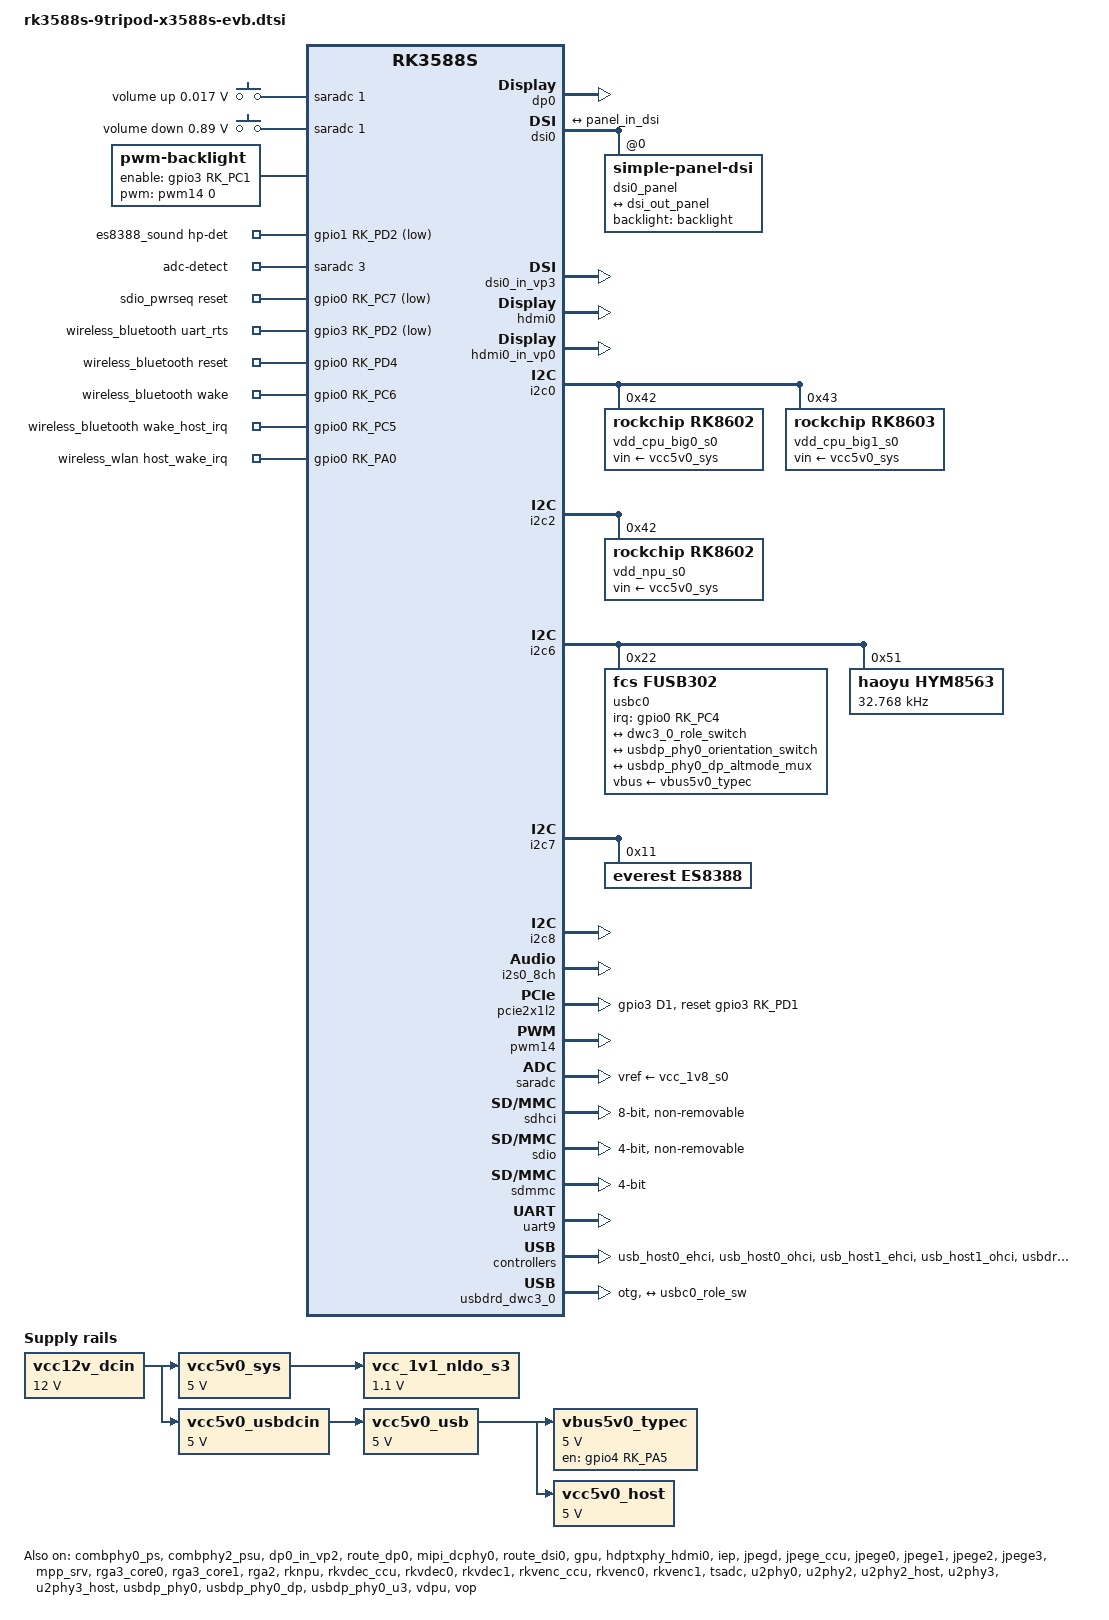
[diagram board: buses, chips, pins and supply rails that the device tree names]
// SPDX-License-Identifier: (GPL-2.0+ OR MIT)
/*
 * Copyright (c) 2021 Rockchip Electronics Co., Ltd.
 *
 */

#include <dt-bindings/gpio/gpio.h>
#include <dt-bindings/pwm/pwm.h>
#include <dt-bindings/pinctrl/rockchip.h>
#include <dt-bindings/input/rk-input.h>
#include <dt-bindings/display/drm_mipi_dsi.h>
#include <dt-bindings/display/rockchip_vop.h>
#include <dt-bindings/sensor-dev.h>
#include "dt-bindings/usb/pd.h"
#include "rk3588s.dtsi"
#include "rk3588s-9tripod-x3588s-rk806-single.dtsi"

/ {
	adc_keys: adc-keys {
		compatible = "adc-keys";
		io-channels = <&saradc 1>;
		io-channel-names = "buttons";
		keyup-threshold-microvolt = <1800000>;
		poll-interval = <100>;

		vol-up-key {
			label = "volume up";
			linux,code = <KEY_VOLUMEUP>;
			press-threshold-microvolt = <17000>;
		};

		vol-down-key {
			label = "volume down";
			linux,code = <KEY_VOLUMEDOWN>;
			press-threshold-microvolt = <890000>;
		};

	};

	backlight: backlight {
		compatible = "pwm-backlight";
		brightness-levels = <
			  0  20  20  21  21  22  22  23
			 23  24  24  25  25  26  26  27
			 27  28  28  29  29  30  30  31
			 31  32  32  33  33  34  34  35
			 35  36  36  37  37  38  38  39
			 40  41  42  43  44  45  46  47
			 48  49  50  51  52  53  54  55
			 56  57  58  59  60  61  62  63
			 64  65  66  67  68  69  70  71
			 72  73  74  75  76  77  78  79
			 80  81  82  83  84  85  86  87
			 88  89  90  91  92  93  94  95
			 96  97  98  99 100 101 102 103
			104 105 106 107 108 109 110 111
			112 113 114 115 116 117 118 119
			120 121 122 123 124 125 126 127
			128 129 130 131 132 133 134 135
			136 137 138 139 140 141 142 143
			144 145 146 147 148 149 150 151
			152 153 154 155 156 157 158 159
			160 161 162 163 164 165 166 167
			168 169 170 171 172 173 174 175
			176 177 178 179 180 181 182 183
			184 185 186 187 188 189 190 191
			192 193 194 195 196 197 198 199
			200 201 202 203 204 205 206 207
			208 209 210 211 212 213 214 215
			216 217 218 219 220 221 222 223
			224 225 226 227 228 229 230 231
			232 233 234 235 236 237 238 239
			240 241 242 243 244 245 246 247
			248 249 250 251 252 253 254 255
		>;
		default-brightness-level = <200>;
	};

	es8388_sound: es8388-sound {
		status = "okay";
		compatible = "rockchip,multicodecs-card";
		rockchip,card-name = "rockchip-es8388";
		hp-det-gpio = <&gpio1 RK_PD2 GPIO_ACTIVE_LOW>;
		io-channels = <&saradc 3>;
		io-channel-names = "adc-detect";
		keyup-threshold-microvolt = <1800000>;
		poll-interval = <100>;
		//spk-con-gpio = <&gpio4 RK_PA5 GPIO_ACTIVE_HIGH>;
		//hp-con-gpio = <&gpio4 RK_PA4 GPIO_ACTIVE_HIGH>;
		rockchip,format = "i2s";
		rockchip,mclk-fs = <256>;
		rockchip,cpu = <&i2s0_8ch>;
		rockchip,codec = <&es8388>;
		rockchip,audio-routing =
			"Headphone", "LOUT1",
			"Headphone", "ROUT1",
			"Speaker", "LOUT2",
			"Speaker", "ROUT2",
			"Headphone", "Headphone Power",
			"Headphone", "Headphone Power",
			"Speaker", "Speaker Power",
			"Speaker", "Speaker Power",
			"LINPUT1", "Main Mic",
			"LINPUT2", "Main Mic",
			"RINPUT1", "Headset Mic",
			"RINPUT2", "Headset Mic";
		pinctrl-names = "default";
		pinctrl-0 = <&hp_det>;
		play-pause-key {
			label = "playpause";
			linux,code = <KEY_PLAYPAUSE>;
			press-threshold-microvolt = <2000>;
		};
	};

	hdmi0_sound: hdmi0-sound {
		status = "disabled";
		compatible = "simple-audio-card";
		simple-audio-card,format = "i2s";
		simple-audio-card,mclk-fs = <128>;
		simple-audio-card,name = "rockchip,hdmi0";

		simple-audio-card,cpu {
			sound-dai = <&i2s5_8ch>;
		};
		simple-audio-card,codec {
			sound-dai = <&hdmi0>;
		};
	};

	test-power {
		status = "okay";
	};

	vcc12v_dcin: vcc12v-dcin {
		compatible = "regulator-fixed";
		regulator-name = "vcc12v_dcin";
		regulator-always-on;
		regulator-boot-on;
		regulator-min-microvolt = <12000000>;
		regulator-max-microvolt = <12000000>;
	};

	vcc5v0_sys: vcc5v0-sys {
		compatible = "regulator-fixed";
		regulator-name = "vcc5v0_sys";
		regulator-always-on;
		regulator-boot-on;
		regulator-min-microvolt = <5000000>;
		regulator-max-microvolt = <5000000>;
		vin-supply = <&vcc12v_dcin>;
	};

	vcc5v0_usbdcin: vcc5v0-usbdcin {
		compatible = "regulator-fixed";
		regulator-name = "vcc5v0_usbdcin";
		regulator-always-on;
		regulator-boot-on;
		regulator-min-microvolt = <5000000>;
		regulator-max-microvolt = <5000000>;
		vin-supply = <&vcc12v_dcin>;
	};

	vcc5v0_usb: vcc5v0-usb {
		compatible = "regulator-fixed";
		regulator-name = "vcc5v0_usb";
		regulator-always-on;
		regulator-boot-on;
		regulator-min-microvolt = <5000000>;
		regulator-max-microvolt = <5000000>;
		vin-supply = <&vcc5v0_usbdcin>;
	};

	vbus5v0_typec: vbus5v0-typec {
		compatible = "regulator-fixed";
		regulator-name = "vbus5v0_typec";
		regulator-min-microvolt = <5000000>;
		regulator-max-microvolt = <5000000>;
		enable-active-high;
		gpio = <&gpio4 RK_PA5 GPIO_ACTIVE_HIGH>;
		vin-supply = <&vcc5v0_usb>;
		pinctrl-names = "default";
		pinctrl-0 = <&typec5v_pwren>;
	};

	vcc5v0_host: vcc5v0-host {
		compatible = "regulator-fixed";
		regulator-name = "vcc5v0_host";
		regulator-boot-on;
		regulator-always-on;
		regulator-min-microvolt = <5000000>;
		regulator-max-microvolt = <5000000>;
		enable-active-high;
		//gpio = <&gpio1 RK_PB1 GPIO_ACTIVE_HIGH>;
		vin-supply = <&vcc5v0_usb>;
		//pinctrl-names = "default";
		//pinctrl-0 = <&vcc5v0_host_en>;
	};

	vcc_1v1_nldo_s3: vcc-1v1-nldo-s3 {
		compatible = "regulator-fixed";
		regulator-name = "vcc_1v1_nldo_s3";
		regulator-always-on;
		regulator-boot-on;
		regulator-min-microvolt = <1100000>;
		regulator-max-microvolt = <1100000>;
		vin-supply = <&vcc5v0_sys>;
	};

	sdio_pwrseq: sdio-pwrseq {
		compatible = "mmc-pwrseq-simple";
		clocks = <&hym8563>;
		clock-names = "ext_clock";
		pinctrl-names = "default";
		pinctrl-0 = <&wifi_enable_h>;
		/*
		 * On the module itself this is one of these (depending
		 * on the actual card populated):
		 * - SDIO_RESET_L_WL_REG_ON
		 * - PDN (power down when low)
		 */
		post-power-on-delay-ms = <200>;
		reset-gpios = <&gpio0 RK_PC7 GPIO_ACTIVE_LOW>;
	};

	wireless_bluetooth: wireless-bluetooth {
		compatible = "bluetooth-platdata";
		clocks = <&hym8563>;
		clock-names = "ext_clock";
		uart_rts_gpios = <&gpio3 RK_PD2 GPIO_ACTIVE_LOW>;
		pinctrl-names = "default", "rts_gpio";
		pinctrl-0 = <&uart9m2_rtsn>, <&bt_reset_gpio>, <&bt_wake_gpio>, <&bt_wake_host_irq>;
		pinctrl-1 = <&uart9_gpios>;
		BT,reset_gpio    = <&gpio0 RK_PD4 GPIO_ACTIVE_HIGH>;
		BT,wake_gpio     = <&gpio0 RK_PC6 GPIO_ACTIVE_HIGH>;
		BT,wake_host_irq = <&gpio0 RK_PC5 GPIO_ACTIVE_HIGH>;
		status = "okay";
	};

	wireless_wlan: wireless-wlan {
		compatible = "wlan-platdata";
		wifi_chip_type = "";
		pinctrl-names = "default";
		pinctrl-0 = <&wifi_host_wake_irq>;
		WIFI,host_wake_irq = <&gpio0 RK_PA0 GPIO_ACTIVE_HIGH>;
		status = "okay";
	};
};

&backlight {
	pwms = <&pwm14 0 25000 0>;
	enable-gpios = <&gpio3 RK_PC1 GPIO_ACTIVE_HIGH>;
	pinctrl-names = "default";
	pinctrl-0 = <&bl_en>;
	status = "okay";
};

&av1d_mmu {
	status = "okay";
};

&combphy0_ps {
	status = "okay";
};

&combphy2_psu {
	status = "okay";
};

&cpu_l0 {
	cpu-supply = <&vdd_cpu_lit_s0>;
	mem-supply = <&vdd_cpu_lit_mem_s0>;
};

&cpu_b0 {
	cpu-supply = <&vdd_cpu_big0_s0>;
	mem-supply = <&vdd_cpu_big0_mem_s0>;
};

&cpu_b2 {
	cpu-supply = <&vdd_cpu_big1_s0>;
	mem-supply = <&vdd_cpu_big1_mem_s0>;
};

&dp0 {
	//pinctrl-names = "default";
	//pinctrl-0 = <&dp0_hpd>;
	//hpd-gpios = <&gpio1 RK_PD5 GPIO_ACTIVE_HIGH>;
	status = "okay";
};

&dp0_in_vp2 {
	status = "okay";
};

&route_dp0 {
	status = "okay";
	connect = <&vp2_out_dp0>;
};

/*
 * mipi_dcphy0 needs to be enabled
 * when dsi0 is enabled
 */
&dsi0 {
	status = "okay";
	//rockchip,lane-rate = <600>;
	dsi0_panel: panel@0 {
		status = "okay";
		compatible = "simple-panel-dsi";
		reg = <0>;
		backlight = <&backlight>;
		//power-supply = <&vcc3v3_lcd_n>;
		//reset-gpios = <&gpio1 RK_PB0 GPIO_ACTIVE_LOW>;
		//pinctrl-names = "default";
		//pinctrl-0 = <&lcd_rst_gpio>;
		reset-delay-ms = <120>;
		enable-delay-ms = <120>;
		prepare-delay-ms = <120>;
		unprepare-delay-ms = <120>;
		disable-delay-ms = <120>;
		dsi,flags = <(MIPI_DSI_MODE_VIDEO | MIPI_DSI_MODE_VIDEO_BURST |
			MIPI_DSI_MODE_LPM | MIPI_DSI_MODE_EOT_PACKET)>;
		dsi,format = <MIPI_DSI_FMT_RGB888>;
		dsi,lanes  = <4>;

		disp_timings0: display-timings {
			native-mode = <&dsi0_timing0>;
			dsi0_timing0: timing0 {
				clock-frequency = <50000000>;
				hactive = <1024>;
				vactive = <600>;
				hfront-porch = <150>;
				hsync-len = <20>;
				hback-porch = <150>;
				vfront-porch = <8>;
				vsync-len = <3>;
				vback-porch = <24>;
				hsync-active = <1>;
				vsync-active = <1>;
				de-active = <0>;
				pixelclk-active = <1>;
			};
		};

		ports {
			#address-cells = <1>;
			#size-cells = <0>;

			port@0 {
				reg = <0>;
				panel_in_dsi: endpoint {
					remote-endpoint = <&dsi_out_panel>;
				};
			};
		};
	};

	ports {
		#address-cells = <1>;
		#size-cells = <0>;

		port@1 {
			reg = <1>;
			dsi_out_panel: endpoint {
				remote-endpoint = <&panel_in_dsi>;
			};
		};
	};
};

&dsi0_in_vp2 {
	status = "disabled";
};

&dsi0_in_vp3 {
	status = "okay";
};

&mipi_dcphy0 {
	status = "okay";
};

&route_dsi0 {
	status = "okay";
	connect = <&vp3_out_dsi0>;
};

/*
 * mipi_dcphy1 needs to be enabled
 * when dsi1 is enabled
 */
&dsi1 {
	status = "disabled";
	//rockchip,lane-rate = <600>;
	dsi1_panel: panel@0 {
		status = "okay";
		compatible = "simple-panel-dsi";
		reg = <0>;
		backlight = <&backlight>;
		//power-supply = <&vcc3v3_lcd_n>;
		//reset-gpios = <&gpio1 RK_PB0 GPIO_ACTIVE_LOW>;
		//pinctrl-names = "default";
		//pinctrl-0 = <&lcd_rst_gpio>;
		reset-delay-ms = <120>;
		enable-delay-ms = <120>;
		prepare-delay-ms = <120>;
		unprepare-delay-ms = <120>;
		disable-delay-ms = <120>;
		dsi,flags = <(MIPI_DSI_MODE_VIDEO | MIPI_DSI_MODE_VIDEO_BURST |
			MIPI_DSI_MODE_LPM | MIPI_DSI_MODE_EOT_PACKET)>;
		dsi,format = <MIPI_DSI_FMT_RGB888>;
		dsi,lanes  = <4>;

		disp_timings: display-timings {
			native-mode = <&dsi1_timing0>;
			dsi1_timing0: timing0 {
				clock-frequency = <50000000>;
				hactive = <1024>;
				vactive = <600>;
				hfront-porch = <150>;
				hsync-len = <20>;
				hback-porch = <150>;
				vfront-porch = <8>;
				vsync-len = <3>;
				vback-porch = <24>;
				hsync-active = <1>;
				vsync-active = <1>;
				de-active = <0>;
				pixelclk-active = <1>;
			};
		};

		ports {
			#address-cells = <1>;
			#size-cells = <0>;

			port@0 {
				reg = <0>;
				panel_in_dsi1: endpoint {
					remote-endpoint = <&dsi1_out_panel>;
				};
			};
		};
	};

	ports {
		#address-cells = <1>;
		#size-cells = <0>;

		port@1 {
			reg = <1>;
			dsi1_out_panel: endpoint {
				remote-endpoint = <&panel_in_dsi1>;
			};
		};
	};

};

&dsi1_in_vp2 {
	status = "disabled";
};

&dsi1_in_vp3 {
	status = "disabled";
};

&dsi1_panel {
	status = "disabled";
	reset-gpios = <&gpio1 RK_PB0 GPIO_ACTIVE_LOW>;
	pinctrl-names = "default";
	pinctrl-0 = <&lcd_rst_gpio>;
};

&mipi_dcphy1 {
	status = "disabled";
};

&route_dsi1 {
	status = "disabled";
	connect = <&vp3_out_dsi1>;
};

&gpu {
	mali-supply = <&vdd_gpu_s0>;
	mem-supply = <&vdd_gpu_mem_s0>;
	status = "okay";
};

&hdptxphy_hdmi0 {
	status = "okay";
};

&hdmi0 {
	enable-gpios = <&gpio4 RK_PB6 GPIO_ACTIVE_HIGH>;
	status = "okay";
};

&hdmi0_in_vp0 {
	status = "okay";
};

&hdmi0_sound {
	status = "okay";
};

&i2c0 {
	status = "okay";
	pinctrl-names = "default";
	pinctrl-0 = <&i2c0m2_xfer>;

	vdd_cpu_big0_s0: vdd_cpu_big0_mem_s0: rk8602@42 {
		compatible = "rockchip,rk8602";
		reg = <0x42>;
		vin-supply = <&vcc5v0_sys>;
		regulator-compatible = "rk860x-reg";
		regulator-name = "vdd_cpu_big0_s0";
		regulator-min-microvolt = <550000>;
		regulator-max-microvolt = <1050000>;
		regulator-ramp-delay = <2300>;
		rockchip,suspend-voltage-selector = <1>;
		regulator-boot-on;
		regulator-always-on;
		regulator-state-mem {
			regulator-off-in-suspend;
		};
	};

	vdd_cpu_big1_s0: vdd_cpu_big1_mem_s0: rk8603@43 {
		compatible = "rockchip,rk8603";
		reg = <0x43>;
		vin-supply = <&vcc5v0_sys>;
		regulator-compatible = "rk860x-reg";
		regulator-name = "vdd_cpu_big1_s0";
		regulator-min-microvolt = <550000>;
		regulator-max-microvolt = <1050000>;
		regulator-ramp-delay = <2300>;
		rockchip,suspend-voltage-selector = <1>;
		regulator-boot-on;
		regulator-always-on;
		regulator-state-mem {
			regulator-off-in-suspend;
		};
	};
};

&i2c2 {
	status = "okay";

	vdd_npu_s0: vdd_npu_mem_s0: rk8602@42 {
		compatible = "rockchip,rk8602";
		reg = <0x42>;
		vin-supply = <&vcc5v0_sys>;
		regulator-compatible = "rk860x-reg";
		regulator-name = "vdd_npu_s0";
		regulator-min-microvolt = <550000>;
		regulator-max-microvolt = <950000>;
		regulator-ramp-delay = <2300>;
		rockchip,suspend-voltage-selector = <1>;
		regulator-boot-on;
		regulator-always-on;
		regulator-state-mem {
			regulator-off-in-suspend;
		};
	};
};

&i2c6 {
	status = "okay";
	pinctrl-names = "default";
	pinctrl-0 = <&i2c6m3_xfer>;

	usbc0: fusb302@22 {
		compatible = "fcs,fusb302";
		reg = <0x22>;
		interrupt-parent = <&gpio0>;
		interrupts = <RK_PC4 IRQ_TYPE_LEVEL_LOW>;
		pinctrl-names = "default";
		pinctrl-0 = <&usbc0_int>;
		vbus-supply = <&vbus5v0_typec>;
		status = "okay";

		ports {
			#address-cells = <1>;
			#size-cells = <0>;

			port@0 {
				reg = <0>;
				usbc0_role_sw: endpoint@0 {
					remote-endpoint = <&dwc3_0_role_switch>;
				};
			};
		};

		usb_con: connector {
			compatible = "usb-c-connector";
			label = "USB-C";
			data-role = "dual";
			power-role = "dual";
			try-power-role = "sink";
			op-sink-microwatt = <1000000>;
			sink-pdos =
				<PDO_FIXED(5000, 1000, PDO_FIXED_USB_COMM)>;
			source-pdos =
				<PDO_FIXED(5000, 3000, PDO_FIXED_USB_COMM)>;

			altmodes {
				#address-cells = <1>;
				#size-cells = <0>;

				altmode@0 {
					reg = <0>;
					svid = <0xff01>;
					vdo = <0xffffffff>;
				};
			};

			ports {
				#address-cells = <1>;
				#size-cells = <0>;

				port@0 {
					reg = <0>;
					usbc0_orien_sw: endpoint {
						remote-endpoint = <&usbdp_phy0_orientation_switch>;
					};
				};

				port@1 {
					reg = <1>;
					dp_altmode_mux: endpoint {
						remote-endpoint = <&usbdp_phy0_dp_altmode_mux>;
					};
				};
			};
		};
	};

	hym8563: hym8563@51 {
		compatible = "haoyu,hym8563";
		reg = <0x51>;
		#clock-cells = <0>;
		clock-frequency = <32768>;
		clock-output-names = "hym8563";
		//pinctrl-names = "default";
		//pinctrl-0 = <&hym8563_int>;
		//interrupt-parent = <&gpio0>;
		//interrupts = <RK_PB0 IRQ_TYPE_LEVEL_LOW>;
		//wakeup-source;
		status = "okay";
	};
};

&i2c7 {
	status = "okay";
	pinctrl-names = "default";
	pinctrl-0 = <&i2c7m0_xfer>;
	
	es8388: es8388@11 {
		status = "okay";
		#sound-dai-cells = <0>;
		compatible = "everest,es8388", "everest,es8323";
		reg = <0x11>;
		clocks = <&cru I2S0_8CH_MCLKOUT>;
		clock-names = "mclk";
		pinctrl-names = "default";
		pinctrl-0 = <&i2s0_mclk>;
	};
};

&i2c8 {
	status = "okay";
	pinctrl-names = "default";
	pinctrl-0 = <&i2c8m2_xfer>;

};

&i2s0_8ch {
	status = "okay";
	pinctrl-0 = <&i2s0_lrck
		     &i2s0_sclk
		     &i2s0_sdi0
		     &i2s0_sdo0>;
};

&iep {
	status = "okay";
};

&iep_mmu {
	status = "okay";
};

&jpegd {
	status = "okay";
};

&jpegd_mmu {
	status = "okay";
};

&jpege_ccu {
	status = "okay";
};

&jpege0 {
	status = "okay";
};

&jpege0_mmu {
	status = "okay";
};

&jpege1 {
	status = "okay";
};

&jpege1_mmu {
	status = "okay";
};

&jpege2 {
	status = "okay";
};

&jpege2_mmu {
	status = "okay";
};

&jpege3 {
	status = "okay";
};

&jpege3_mmu {
	status = "okay";
};

&mpp_srv {
	status = "okay";
};

&pcie2x1l2 {
	reset-gpios = <&gpio3 RK_PD1 GPIO_ACTIVE_HIGH>;
	rockchip,skip-scan-in-resume;
	pinctrl-names = "default";
	pinctrl-0 = <&rtl8111_isolate>;
	status = "okay";
};

&pinctrl {
	headphone {
		hp_det: hp-det {
			rockchip,pins = <1 RK_PD2 RK_FUNC_GPIO &pcfg_pull_down>;
		};
	};

	sdio-pwrseq {
		wifi_enable_h: wifi-enable-h {
			rockchip,pins = <0 RK_PC7 RK_FUNC_GPIO &pcfg_pull_up>;
		};
	};

	hym8563 {
		hym8563_int: hym8563-int {
			rockchip,pins = <0 RK_PB0 RK_FUNC_GPIO &pcfg_pull_up>;
		};
	};

	lcd {
		lcd_rst_gpio: lcd-rst-gpio {
			rockchip,pins = <1 RK_PB0 RK_FUNC_GPIO &pcfg_pull_none>;
		};
	};
	backlight {
		bl_en: bl-en {
			rockchip,pins = <3 RK_PC1 RK_FUNC_GPIO &pcfg_pull_up>;
		};
	};

	tp_irq {
		tp_irq_gpio: tp-irq-gpio {
			rockchip,pins = <0 RK_PD5 RK_FUNC_GPIO &pcfg_pull_up>;
		};
		tp_rst_gpio: tp-rst-gpio {
			rockchip,pins = <3 RK_PC2 RK_FUNC_GPIO &pcfg_pull_up>;
		};
	};

	dp {
		dp0_hpd: dp0-hpd {
			rockchip,pins = <1 RK_PD5 RK_FUNC_GPIO &pcfg_pull_none>;
		};
	};

	usb {
		//vcc5v0_host_en: vcc5v0-host-en {
		//	rockchip,pins = <1 RK_PB1 RK_FUNC_GPIO &pcfg_pull_none>;
		//};
	};

	usb-typec {
		usbc0_int: usbc0-int {
			rockchip,pins = <0 RK_PC4 RK_FUNC_GPIO &pcfg_pull_up>;
		};

		typec5v_pwren: typec5v-pwren {
			rockchip,pins = <4 RK_PA5 RK_FUNC_GPIO &pcfg_pull_none>;
		};
	};
	
	rtl8111 {
		rtl8111_isolate: rtl8111-isolate {
			rockchip,pins = <3 RK_PD1 RK_FUNC_GPIO &pcfg_pull_up>;
		};
	};
	
	wireless-bluetooth {
		uart9_gpios: uart9-gpios {
			rockchip,pins = <3 RK_PD2 RK_FUNC_GPIO &pcfg_pull_none>;
		};

		bt_reset_gpio: bt-reset-gpio {
			rockchip,pins = <0 RK_PD4 RK_FUNC_GPIO &pcfg_pull_none>;
		};

		bt_wake_gpio: bt-wake-gpio {
			rockchip,pins = <0 RK_PC6 RK_FUNC_GPIO &pcfg_pull_none>;
		};

		bt_wake_host_irq: bt-wake-host-irq {
			rockchip,pins = <0 RK_PC5 RK_FUNC_GPIO &pcfg_pull_down>;
		};
	};

	wireless-wlan {
		wifi_host_wake_irq: wifi-host-wake-irq {
			rockchip,pins = <0 RK_PA0 RK_FUNC_GPIO &pcfg_pull_down>;
		};

		wifi_poweren_gpio: wifi-poweren-gpio {
			rockchip,pins = <0 RK_PC7 RK_FUNC_GPIO &pcfg_pull_up>;
		};
	};
};

&pwm14 {
	status = "okay";
	pinctrl-names = "active";
	pinctrl-0 = <&pwm14m1_pins>;
};

&rga3_core0 {
	status = "okay";
};

&rga3_0_mmu {
	status = "okay";
};

&rga3_core1 {
	status = "okay";
};

&rga3_1_mmu {
	status = "okay";
};

&rga2 {
	status = "okay";
};

&rknpu {
	rknpu-supply = <&vdd_npu_s0>;
	mem-supply = <&vdd_npu_mem_s0>;
	status = "okay";
};

&rknpu_mmu {
	status = "okay";
};

&rkvdec_ccu {
	status = "okay";
};

&rkvdec0 {
	status = "okay";
};

&rkvdec0_mmu {
	status = "okay";
};

&rkvdec1 {
	status = "okay";
};

&rkvdec1_mmu {
	status = "okay";
};

&rkvenc_ccu {
	status = "okay";
};

&rkvenc0 {
	status = "okay";
};

&rkvenc0_mmu {
	status = "okay";
};

&rkvenc1 {
	status = "okay";
};

&rkvenc1_mmu {
	status = "okay";
};

&rockchip_suspend {
	status = "okay";
	rockchip,sleep-debug-en = <1>;
};

&saradc {
	status = "okay";
	vref-supply = <&vcc_1v8_s0>;
};

&sdhci {
	bus-width = <8>;
	no-sdio;
	no-sd;
	non-removable;
	max-frequency = <200000000>;
	mmc-hs400-1_8v;
	mmc-hs400-enhanced-strobe;
	status = "okay";
};

&sdio {
	max-frequency = <100000000>;
	no-sd;
	no-mmc;
	bus-width = <4>;
	disable-wp;
	cap-sd-highspeed;
	cap-sdio-irq;
	keep-power-in-suspend;
	mmc-pwrseq = <&sdio_pwrseq>;
	non-removable;
	pinctrl-names = "default";
	pinctrl-0 = <&sdiom1_pins>;
	sd-uhs-sdr104;
	status = "okay";
};

&sdmmc {
	max-frequency = <150000000>;
	no-sdio;
	no-mmc;
	bus-width = <4>;
	cap-mmc-highspeed;
	cap-sd-highspeed;
	disable-wp;
	//sd-uhs-sdr104;
	//vmmc-supply = <&vcc_3v3_sd_s0>;
	vqmmc-supply = <&vccio_sd_s0>;
	status = "okay";
};

&spi2 {
	pinctrl-names = "default";
	pinctrl-0 = <&spi2m2_cs0 &spi2m2_pins>;
	num-cs = <1>;
};

&tsadc {
	status = "okay";
};

&uart9 {
	status = "okay";
	pinctrl-names = "default";
	pinctrl-0 = <&uart9m2_xfer &uart9m2_ctsn>;
};

&u2phy0 {
	status = "okay";
};

&u2phy0_otg {
	rockchip,typec-vbus-det;
};

&u2phy2 {
	status = "okay";
	rockchip,typec-vbus-det;
};

&u2phy2_host {
	status = "okay";
};

&u2phy3 {
	status = "okay";
};

&u2phy3_host {
	status = "okay";
};

&usb_host0_ehci {
	status = "okay";
};

&usb_host0_ohci {
	status = "okay";
};

&usb_host1_ehci {
	status = "okay";
};

&usb_host1_ohci {
	status = "okay";
};

&usbdp_phy0 {
        status = "okay";
	orientation-switch;
	svid = <0xff01>;
	sbu1-dc-gpios = <&gpio4 RK_PA0 GPIO_ACTIVE_HIGH>;
	sbu2-dc-gpios = <&gpio4 RK_PA1 GPIO_ACTIVE_HIGH>;
	rockchip,dp-lane-mux = <2 3>;

	port {
		#address-cells = <1>;
		#size-cells = <0>;
		usbdp_phy0_orientation_switch: endpoint@0 {
			reg = <0>;
			remote-endpoint = <&usbc0_orien_sw>;
		};

		usbdp_phy0_dp_altmode_mux: endpoint@1 {
			reg = <1>;
			remote-endpoint = <&dp_altmode_mux>;
		};
	};
};

&usbdp_phy0_dp {
	status = "okay";
};

&usbdp_phy0_u3 {
	status = "okay";
};

&usbdrd3_0 {
	status = "okay";
};

&usbdrd_dwc3_0 {
	dr_mode = "otg";
        status = "okay";
	usb-role-switch;
	port {
		#address-cells = <1>;
		#size-cells = <0>;
		dwc3_0_role_switch: endpoint@0 {
			reg = <0>;
			remote-endpoint = <&usbc0_role_sw>;
		};
	};
};

&usbhost3_0 {
	status = "okay";
};

&usbhost_dwc3_0 {
	status = "okay";
};

&vdpu {
	status = "okay";
};

&vdpu_mmu {
	status = "okay";
};

&vop {
	status = "okay";
};

&vop_mmu {
	status = "okay";
};

/* vp0 & vp1 splice for 8K output */
&vp0 {
	rockchip,plane-mask = <(1 << ROCKCHIP_VOP2_CLUSTER0 | 1 << ROCKCHIP_VOP2_ESMART0)>;
	rockchip,primary-plane = <ROCKCHIP_VOP2_ESMART0>;
};

&vp1 {
	rockchip,plane-mask = <(1 << ROCKCHIP_VOP2_CLUSTER1 | 1 << ROCKCHIP_VOP2_ESMART1)>;
	rockchip,primary-plane = <ROCKCHIP_VOP2_ESMART1>;
};

&vp2 {
	rockchip,plane-mask = <(1 << ROCKCHIP_VOP2_CLUSTER2 | 1 << ROCKCHIP_VOP2_ESMART2)>;
	rockchip,primary-plane = <ROCKCHIP_VOP2_ESMART2>;
};

&vp3 {
	rockchip,plane-mask = <(1 << ROCKCHIP_VOP2_CLUSTER3 | 1 << ROCKCHIP_VOP2_ESMART3)>;
	rockchip,primary-plane = <ROCKCHIP_VOP2_ESMART3>;
};
